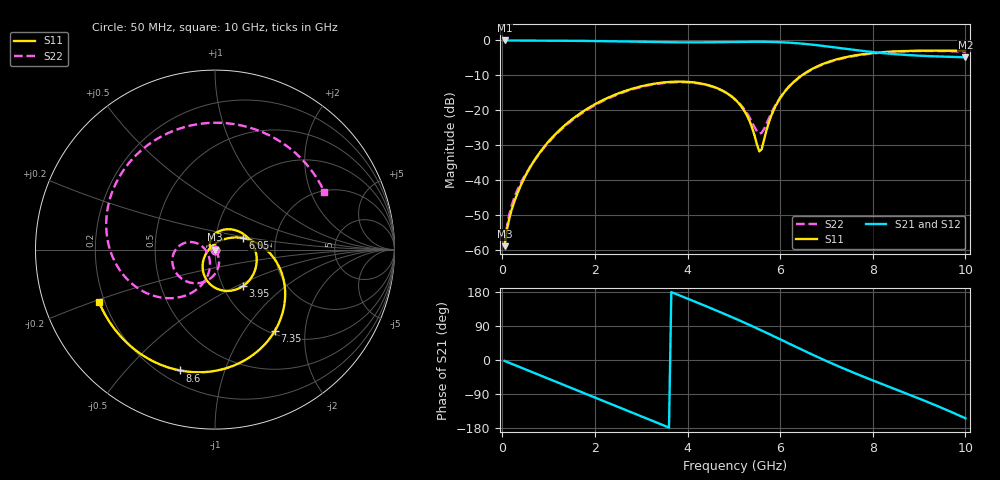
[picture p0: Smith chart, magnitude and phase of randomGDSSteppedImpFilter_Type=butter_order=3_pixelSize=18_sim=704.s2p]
! freq	dB(S11)	phase(S11)	dB(S12)	phase(S12)
!  dB(S21)	phase(S21)	dB(S22)	phase(S22)
!S-par simulation data
#  GHz  S  DB  R 50
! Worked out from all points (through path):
!   200 points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, 50 MHz to 10 GHz, reference 50 ohm
!   highest |S21| = -0.01 dB at 50 MHz (marker M1); lowest = -4.8 dB at 10 GHz (marker M2)
!   group delay of S21, straight-line fit = 144 ps
!   lowest |S11| = -58.9 dB at 50 MHz (marker M3), VSWR 1.00, Z = 50.1 - j0.0985 ohm
!   |S11| at or under -10 dB: start of sweep to 6.468 GHz
!   |S22| runs from -58.2 to -3.0 dB; largest |S21 - S12| = 0
!   S11 on the Smith chart (normalised r, x): 50 MHz: 1.00, -0.00; 3.95 GHz: 1.23, -0.54; 6.05 GHz: 1.35, +0.18; 7.35 GHz: 1.05, -1.39; 8.6 GHz: 0.27, -0.71; 10 GHz: 0.18, -0.21
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0.05  -58.90 -60.1  -0.01 -2.5  -0.01 -2.5  -58.16 -52.7
0.15  -51.06 -101.6  -0.02 -7.5  -0.02 -7.5  -49.90 -70.4
0.25  -46.52 -125.0  -0.02 -12.4  -0.02 -12.4  -45.38 -71.2
0.6  -36.32 -177.9  -0.04 -29.7  -0.04 -29.7  -36.25 -63.4
1.2  -26.13 125.0  -0.08 -59.3  -0.08 -59.3  -26.42 -65.6
1.75  -20.29 83.2  -0.14 -86.6  -0.14 -86.6  -20.58 -77.7
2.5  -15.20 32.9  -0.28 -123.9  -0.28 -123.9  -15.41 -101.3
3.4  -12.17 -21.6  -0.48 -168.4  -0.48 -168.4  -12.32 -135.0
3.95  -11.83 -53.0  -0.55 164.5  -0.55 164.5  -11.97 -156.9
4.5  -13.01 -84.3  -0.53 136.9  -0.53 136.9  -13.10 -178.9
5.05  -17.22 -119.0  -0.43 108.2  -0.43 108.2  -17.09 162.4
5.3  -21.93 -141.0  -0.39 94.6  -0.39 94.6  -21.20 162.4
5.55  -31.77 143.1  -0.38 80.6  -0.38 80.6  -26.67 -157.9
5.8  -21.81 46.7  -0.42 66.3  -0.42 66.3  -21.04 -108.1
6.05  -15.52 22.7  -0.54 51.7  -0.54 51.7  -15.46 -106.9
6.7  -8.10 -19.3  -1.22 14.0  -1.22 14.0  -8.24 -135.8
7.35  -4.99 -53.7  -2.29 -21.4  -2.29 -21.4  -5.13 -170.8
7.85  -3.84 -76.5  -3.11 -46.6  -3.11 -46.6  -3.96 162.2
8.35  -3.25 -96.8  -3.79 -70.6  -3.79 -70.6  -3.35 134.9
8.6  -3.08 -106.3  -4.05 -82.5  -4.05 -82.5  -3.17 120.7
9.3  -2.92 -131.3  -4.53 -116.6  -4.53 -116.6  -3.01 77.9
10  -2.98 -155.7  -4.83 -153.8  -4.83 -153.8  -3.24 27.7
